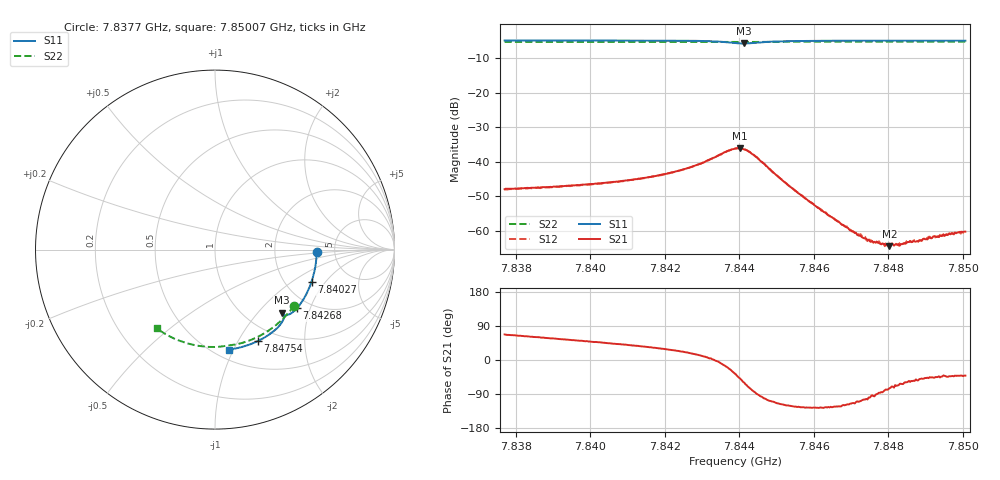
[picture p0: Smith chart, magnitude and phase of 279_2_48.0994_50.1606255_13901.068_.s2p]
#  HZ  S  RI  R  50.00
! Rohde & Schwarz Vector Network Analyzer
! Rohde-Schwarz,ZNB20-2Port,1311601062101988,3.16
! Created: UTC 12/23/2023, 4:02:34 AM
! freq[Hz]  re:S11  im:S11  re:S21  im:S21  re:S12  im:S12  re:S22  im:S22
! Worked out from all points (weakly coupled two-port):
!   401 points, 7.8377 GHz to 7.85007 GHz, reference 50 ohm
!   highest |S21| = -36.10 dB at 7.84401 GHz (marker M1); lowest = -64.4 dB at 7.84803 GHz (marker M2)
!   lowest |S11| = -5.8 dB at 7.84413 GHz (marker M3), VSWR 3.10, Z = 71.3 - j68.1 ohm
!   |S11| at or under -10 dB: nowhere
!   |S22| runs from -5.4 to -5.3 dB; largest |S21 - S12| = 0.00034
!   S11 on the Smith chart (normalised r, x): 7.8377 GHz: 3.61, -0.12; 7.84027 GHz: 2.76, -1.46; 7.84268 GHz: 1.70, -1.62; 7.84754 GHz: 0.81, -1.22; 7.85007 GHz: 0.59, -0.96
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7.837704e9  0.5664 -0.0109  0.00154 0.00369  0.00157 0.00364  0.4409 -0.3115
7.839775e9  0.5474 -0.1476  0.00295 0.0036  0.00292 0.00354  0.3427 -0.418
7.84027e9  0.5377 -0.1795  0.00334 0.00351  0.0033 0.0035  0.3156 -0.4392
7.841847e9  0.4922 -0.278  0.00548 0.00324  0.0054 0.00323  0.2199 -0.4947
7.842682e9  0.4562 -0.3272  0.00789 0.00257  0.00784 0.00262  0.1649 -0.5155
7.843424e9  0.4088 -0.3627  0.0121 -0.000847  0.0122 -0.000727  0.1143 -0.5284
7.843888e9  0.3747 -0.3606  0.0125 -0.00911  0.0125 -0.00914  0.0832 -0.5326
7.844011e9  0.3718 -0.3556  0.0105 -0.0116  0.0105 -0.0115  0.0753 -0.5335
7.844135e9  0.3731 -0.3518  0.00756 -0.013  0.00745 -0.0131  0.0676 -0.5345
7.844413e9  0.3828 -0.3574  0.00117 -0.0122  0.00113 -0.0122  0.0499 -0.5377
7.845248e9  0.3668 -0.4139  -0.00241 -0.00428  -0.0024 -0.0043  -0.00863 -0.5427
7.845959e9  0.3308 -0.4512  -0.00148 -0.00201  -0.00147 -0.00207  -0.0587 -0.5405
7.847072e9  0.267 -0.4949  -0.00039 -0.000894  -0.000385 -0.000884  -0.136 -0.5272
7.847536e9  0.239 -0.5095  -6.77e-05 -0.000689  -0.000108 -0.000719  -0.1671 -0.5184
7.847598e9  0.2352 -0.5112  -5.95e-05 -0.000683  -7.31e-05 -0.000671  -0.1714 -0.5171
7.847845e9  0.2201 -0.5182  5.53e-05 -0.000656  5.23e-05 -0.000612  -0.1878 -0.5116
7.848031e9  0.2085 -0.5228  0.00016 -0.000579  0.000184 -0.00063  -0.2002 -0.507
7.848309e9  0.1911 -0.5296  0.000278 -0.000541  0.000292 -0.000599  -0.2181 -0.4995
7.848711e9  0.1654 -0.5381  0.000399 -0.000576  0.000453 -0.000581  -0.2437 -0.488
7.848866e9  0.1556 -0.541  0.000474 -0.000559  0.00046 -0.000555  -0.2533 -0.483
7.849051e9  0.1436 -0.5443  0.000516 -0.000546  0.000509 -0.000604  -0.2649 -0.4769
7.850071e9  0.0769 -0.5572  0.000731 -0.00064  0.00073 -0.000679  -0.3253 -0.4386
